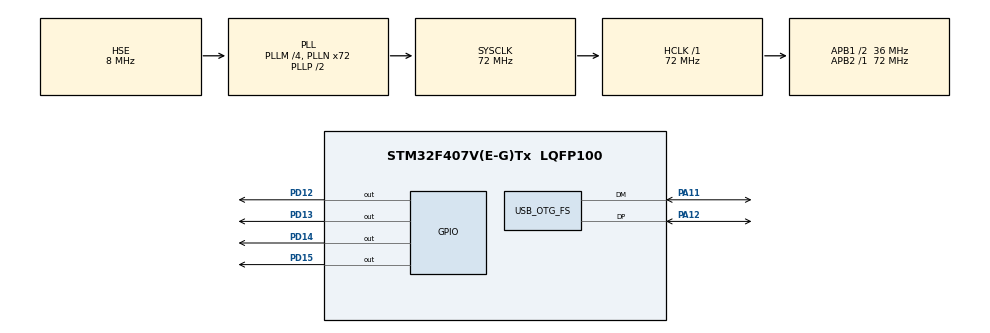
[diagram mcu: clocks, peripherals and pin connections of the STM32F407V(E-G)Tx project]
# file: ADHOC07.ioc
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FREERTOS.Tasks01=defaultTask,0,128,StartDefaultTask,Default,NULL
FREERTOS.configCHECK_FOR_STACK_OVERFLOW=2
FREERTOS.configUSE_COUNTING_SEMAPHORES=1
FREERTOS.configUSE_MALLOC_FAILED_HOOK=1
Mcu.Family=STM32F4
Mcu.Name=STM32F407V(E-G)Tx
Mcu.Package=LQFP100
NVIC.OTG_FS_IRQn=true\:5\:0\:false\:false\:true\:true\:false
NVIC.PriorityGroup=NVIC_PRIORITYGROUP_4
PA11.Mode=Device_Only
PA11.Signal=USB_OTG_FS_DM
PA12.Mode=Device_Only
PA12.Signal=USB_OTG_FS_DP
PD12.Signal=GPIO_Output
PD13.Signal=GPIO_Output
PD14.Signal=GPIO_Output
PD15.Signal=GPIO_Output
PH0-OSC_IN.Mode=HSE-External-Oscillator
PH0-OSC_IN.Signal=RCC_OSC_IN
PH1-OSC_OUT.Mode=HSE-External-Oscillator
PH1-OSC_OUT.Signal=RCC_OSC_OUT
ProjectManager.HeapSize=0x200
ProjectManager.StackSize=0x400
ProjectManager.TargetToolchain=TrueSTUDIO
RCC.48MHZClocksFreq_Value=48000000
RCC.AHBFreq_Value=72000000
RCC.APB1CLKDivider=RCC_HCLK_DIV2
RCC.APB1Freq_Value=36000000
RCC.APB1TimFreq_Value=72000000
RCC.APB2Freq_Value=72000000
RCC.APB2TimFreq_Value=72000000
RCC.CortexFreq_Value=72000000
RCC.HCLKFreq_Value=72000000
RCC.HSE_VALUE=8000000
RCC.HSI_VALUE=16000000
RCC.LSE_VALUE=32768
RCC.PLLM=4
RCC.PLLN=72
RCC.PLLQ=3
RCC.SYSCLKFreq_VALUE=72000000
RCC.SYSCLKSource=RCC_SYSCLKSOURCE_PLLCLK
RCC.VCOOutputFreq_Value=144000000
USB_DEVICE.CLASS_NAME_FS=CDC
USB_DEVICE.VirtualMode-CDC_FS=Cdc
USB_DEVICE.VirtualModeFS=Cdc_FS
USB_OTG_FS.VirtualMode=Device_Only
VP_FREERTOS_VS_ENABLE.Mode=Enabled
VP_USB_DEVICE_VS_USB_DEVICE_CDC_FS.Mode=CDC_FS
board=custom

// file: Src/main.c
/**
  ******************************************************************************
  * @file           : main.c
  * @brief          : Main program body
  ******************************************************************************
  * This notice applies to any and all portions of this file
  * that are not between comment pairs USER CODE BEGIN and
  * USER CODE END. Other portions of this file, whether
  * inserted by the user or by software development tools
  * are owned by their respective copyright owners.
  *
  * Copyright (c) 2018 STMicroelectronics International N.V.
  * All rights reserved.
  *
  * Redistribution and use in source and binary forms, with or without
  * modification, are permitted, provided that the following conditions are met:
  *
  * 1. Redistribution of source code must retain the above copyright notice,
  *    this list of conditions and the following disclaimer.
  * 2. Redistributions in binary form must reproduce the above copyright notice,
  *    this list of conditions and the following disclaimer in the documentation
  *    and/or other materials provided with the distribution.
  * 3. Neither the name of STMicroelectronics nor the names of other
  *    contributors to this software may be used to endorse or promote products
  *    derived from this software without specific written permission.
  * 4. This software, including modifications and/or derivative works of this
  *    software, must execute solely and exclusively on microcontroller or
  *    microprocessor devices manufactured by or for STMicroelectronics.
  * 5. Redistribution and use of this software other than as permitted under
  *    this license is void and will automatically terminate your rights under
  *    this license.
  *
  * THIS SOFTWARE IS PROVIDED BY STMICROELECTRONICS AND CONTRIBUTORS "AS IS"
  * AND ANY EXPRESS, IMPLIED OR STATUTORY WARRANTIES, INCLUDING, BUT NOT
  * LIMITED TO, THE IMPLIED WARRANTIES OF MERCHANTABILITY, FITNESS FOR A
  * PARTICULAR PURPOSE AND NON-INFRINGEMENT OF THIRD PARTY INTELLECTUAL PROPERTY
  * RIGHTS ARE DISCLAIMED TO THE FULLEST EXTENT PERMITTED BY LAW. IN NO EVENT
  * SHALL STMICROELECTRONICS OR CONTRIBUTORS BE LIABLE FOR ANY DIRECT, INDIRECT,
  * INCIDENTAL, SPECIAL, EXEMPLARY, OR CONSEQUENTIAL DAMAGES (INCLUDING, BUT NOT
  * LIMITED TO, PROCUREMENT OF SUBSTITUTE GOODS OR SERVICES; LOSS OF USE, DATA,
  * OR PROFITS; OR BUSINESS INTERRUPTION) HOWEVER CAUSED AND ON ANY THEORY OF
  * LIABILITY, WHETHER IN CONTRACT, STRICT LIABILITY, OR TORT (INCLUDING
  * NEGLIGENCE OR OTHERWISE) ARISING IN ANY WAY OUT OF THE USE OF THIS SOFTWARE,
  * EVEN IF ADVISED OF THE POSSIBILITY OF SUCH DAMAGE.
  *
  ******************************************************************************
  */
#include "main.h"
#include "stm32f4xx_hal.h"
#include "cmsis_os.h"
#include "usb_device.h"

/* USER CODE BEGIN Includes */
#include "FreeRTOS_IP.h"
#include "FreeRTOS_Sockets.h"
/* USER CODE END Includes */

osThreadId defaultTaskHandle;

/* USER CODE BEGIN PV */
/* Private variables ---------------------------------------------------------*/
/* Private variables ---------------------------------------------------------*/
#define mainHOST_NAME					"RTOSDemo"
#define mainDEVICE_NICK_NAME			"stm32"

#ifndef configIPINIT_TASK_STACK_SIZE
	#define configIPINIT_TASK_STACK_SIZE ( 4 * configMINIMAL_STACK_SIZE )
#endif
/* The MAC address array is not declared const as the MAC address will
normally be read from an EEPROM and not hard coded (in real deployed
applications).*/
static uint8_t ucMACAddress[ 6 ] = { 0x00, 0x11, 0x22, 0x33, 0x44, 0x55 };

static const uint8_t ucIPAddress[ 4 ] = { 10, 10, 10, 200 };
static const uint8_t ucNetMask[ 4 ] = { 255, 0, 0, 0 };
static const uint8_t ucGatewayAddress[ 4 ] = { 10, 10, 10, 1 };

/* The following is the address of an OpenDNS server. */
static const uint8_t ucDNSServerAddress[ 4 ] = { 208, 67, 222, 222 };
/* USER CODE END PV */

void SystemClock_Config(void);
static void MX_GPIO_Init(void);
void StartDefaultTask(void const * argument);

/* USER CODE BEGIN PFP */
/* Private function prototypes -----------------------------------------------*/

/* USER CODE END PFP */

int main(void)
{

  /* MCU Configuration----------------------------------------------------------*/

  /* Reset of all peripherals, Initializes the Flash interface and the Systick. */
  HAL_Init();

  /* Configure the system clock */
  SystemClock_Config();

  /* Initialize all configured peripherals */
  MX_GPIO_Init();
  /* USER CODE BEGIN 2 */
	FreeRTOS_IPInit( ucIPAddress,
				   ucNetMask,
				   ucGatewayAddress,
				   ucDNSServerAddress,
				   ucMACAddress );
  /* USER CODE END 2 */

  /* Create the thread(s) */
  /* definition and creation of defaultTask */
  osThreadDef(defaultTask, StartDefaultTask, osPriorityNormal, 0, 128);
  defaultTaskHandle = osThreadCreate(osThread(defaultTask), NULL);

  /* Start scheduler */
  osKernelStart();

  /* We should never get here as control is now taken by the scheduler */

  /* Infinite loop */
  while (1)
  {

  }

}

void SystemClock_Config(void)
{

  RCC_OscInitTypeDef RCC_OscInitStruct;
  RCC_ClkInitTypeDef RCC_ClkInitStruct;

    /**Configure the main internal regulator output voltage
    */
  __HAL_RCC_PWR_CLK_ENABLE();

  __HAL_PWR_VOLTAGESCALING_CONFIG(PWR_REGULATOR_VOLTAGE_SCALE1);

    /**Initializes the CPU, AHB and APB busses clocks
    */
  RCC_OscInitStruct.OscillatorType = RCC_OSCILLATORTYPE_HSE;
  RCC_OscInitStruct.HSEState = RCC_HSE_ON;
  RCC_OscInitStruct.PLL.PLLState = RCC_PLL_ON;
  RCC_OscInitStruct.PLL.PLLSource = RCC_PLLSOURCE_HSE;
  RCC_OscInitStruct.PLL.PLLM = 4;
  RCC_OscInitStruct.PLL.PLLN = 72;
  RCC_OscInitStruct.PLL.PLLP = RCC_PLLP_DIV2;
  RCC_OscInitStruct.PLL.PLLQ = 3;
  if (HAL_RCC_OscConfig(&RCC_OscInitStruct) != HAL_OK)
  {
    _Error_Handler(__FILE__, __LINE__);
  }

    /**Initializes the CPU, AHB and APB busses clocks
    */
  RCC_ClkInitStruct.ClockType = RCC_CLOCKTYPE_HCLK|RCC_CLOCKTYPE_SYSCLK
                              |RCC_CLOCKTYPE_PCLK1|RCC_CLOCKTYPE_PCLK2;
  RCC_ClkInitStruct.SYSCLKSource = RCC_SYSCLKSOURCE_PLLCLK;
  RCC_ClkInitStruct.AHBCLKDivider = RCC_SYSCLK_DIV1;
  RCC_ClkInitStruct.APB1CLKDivider = RCC_HCLK_DIV2;
  RCC_ClkInitStruct.APB2CLKDivider = RCC_HCLK_DIV1;

  if (HAL_RCC_ClockConfig(&RCC_ClkInitStruct, FLASH_LATENCY_2) != HAL_OK)
  {
    _Error_Handler(__FILE__, __LINE__);
  }

    /**Configure the Systick interrupt time
    */
  HAL_SYSTICK_Config(HAL_RCC_GetHCLKFreq()/1000);

    /**Configure the Systick
    */
  HAL_SYSTICK_CLKSourceConfig(SYSTICK_CLKSOURCE_HCLK);

  /* SysTick_IRQn interrupt configuration */
  HAL_NVIC_SetPriority(SysTick_IRQn, 15, 0);
}

/** Configure pins as
        * Analog
        * Input
        * Output
        * EVENT_OUT
        * EXTI
*/
static void MX_GPIO_Init(void)
{

  GPIO_InitTypeDef GPIO_InitStruct;

  /* GPIO Ports Clock Enable */
  __HAL_RCC_GPIOH_CLK_ENABLE();
  __HAL_RCC_GPIOD_CLK_ENABLE();
  __HAL_RCC_GPIOA_CLK_ENABLE();

  /*Configure GPIO pin Output Level */
  HAL_GPIO_WritePin(GPIOD, GPIO_PIN_12|GPIO_PIN_13|GPIO_PIN_14|GPIO_PIN_15, GPIO_PIN_RESET);

  /*Configure GPIO pins : PD12 PD13 PD14 PD15 */
  GPIO_InitStruct.Pin = GPIO_PIN_12|GPIO_PIN_13|GPIO_PIN_14|GPIO_PIN_15;
  GPIO_InitStruct.Mode = GPIO_MODE_OUTPUT_PP;
  GPIO_InitStruct.Pull = GPIO_NOPULL;
  GPIO_InitStruct.Speed = GPIO_SPEED_FREQ_LOW;
  HAL_GPIO_Init(GPIOD, &GPIO_InitStruct);

}

/* USER CODE BEGIN 4 */
const char *pcApplicationHostnameHook( void )
{
	/* Assign the name "rtosdemo" to this network node.  This function will be
	called during the DHCP: the machine will be registered with an IP address
	plus this name. */
	return mainHOST_NAME;
}

BaseType_t xApplicationDNSQueryHook( const char *pcName )
{
BaseType_t xReturn;

	/* Determine if a name lookup is for this node.  Two names are given
	to this node: that returned by pcApplicationHostnameHook() and that set
	by mainDEVICE_NICK_NAME. */
	if( strcasecmp( pcName, pcApplicationHostnameHook() ) == 0 )
	{
		xReturn = pdPASS;
	}
	else if( strcasecmp( pcName, mainDEVICE_NICK_NAME ) == 0 )
	{
		xReturn = pdPASS;
	}
	else
	{
		xReturn = pdFAIL;
	}

	return xReturn;
}
/* USER CODE END 4 */

/* StartDefaultTask function */
void StartDefaultTask(void const * argument)
{
  /* init code for USB_DEVICE */
  MX_USB_DEVICE_Init();

  for(;;)
  {
    osDelay(1);
  }
}

void _Error_Handler(char *file, int line)
{
  while(1)
  {
  }
}

/************************ (C) COPYRIGHT STMicroelectronics *****END OF FILE****/
